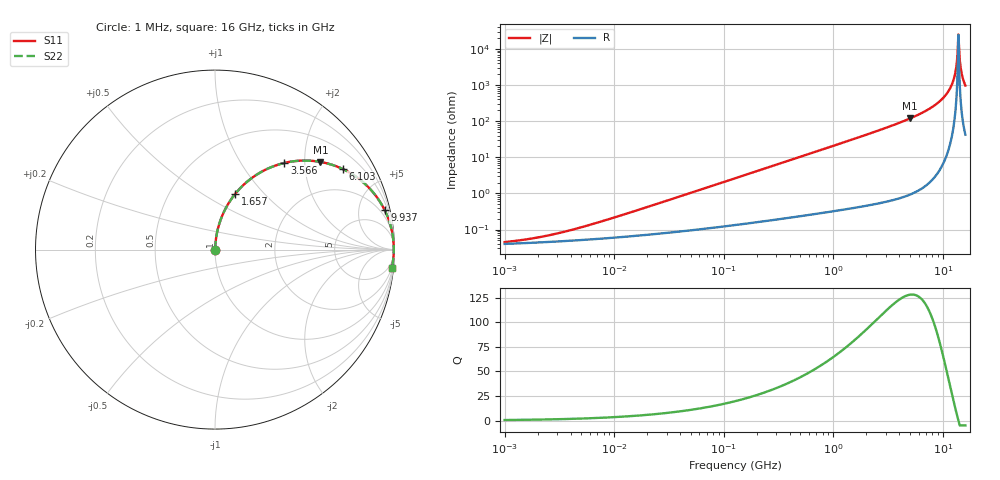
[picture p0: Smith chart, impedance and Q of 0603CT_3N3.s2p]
# MHz  S  MA  R  50
!Freq  MagS11  AngS11  MagS21  AngS21  MagS12  AngS12  MagS22  AngS22
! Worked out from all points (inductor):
!   974 points, 1 MHz to 16 GHz, reference 50 ohm
!   read as one part in series: L = 3.3 nH near 8.326 MHz
!   highest Q = 128 at 5.001 GHz (marker M1), where L = 3.8 nH
!   self-resonance near 13.8 GHz
!   S11 on the Smith chart (normalised r, x): 1 MHz: 1.00, +0.00; 1.657 GHz: 1.01, +0.70; 3.566 GHz: 1.01, +1.58; 6.103 GHz: 1.03, +3.14; 9.937 GHz: 1.13, +8.53; 16 GHz: 2, -19
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1  0.0004513 27.3  0.9996 -0.0  0.9996 -0.0  0.0004513 27.3
2.194768  0.0006361 45.6  0.9996 -0.0  0.9996 -0.0  0.0006361 45.6
5.06272  0.001169 63.8  0.9995 -0.1  0.9995 -0.1  0.001169 63.8
25.37736  0.005314 81.4  0.9992 -0.3  0.9992 -0.3  0.005314 81.4
127.2064  0.02637 85.6  0.9983 -1.5  0.9983 -1.5  0.02637 85.6
637.6342  0.131 81.3  0.9888 -7.5  0.9888 -7.5  0.131 81.3
1657.385  0.328 70.2  0.9408 -19.1  0.9408 -19.1  0.328 70.2
3196.201  0.5712 54.7  0.8158 -34.8  0.8158 -34.8  0.5712 54.7
3565.901  0.6184 51.3  0.7807 -38.2  0.7807 -38.2  0.6184 51.3
5001.45  0.7636 39.8  0.6398 -49.8  0.6398 -49.8  0.7636 39.8
6102.72  0.8407 32.3  0.5348 -57.2  0.5348 -57.2  0.8407 32.3
8063.469  0.9272 21.5  0.3657 -68.0  0.3657 -68.0  0.9272 21.5
9937.354  0.9704 13.1  0.2274 -76.0  0.2274 -76.0  0.9704 13.1
11197.66  0.9859 8.4  0.1458 -80.3  0.1458 -80.3  0.9859 8.4
12246.71  0.9929 4.8  0.08396 -82.8  0.08396 -82.8  0.9929 4.8
12871.42  0.9951 2.8  0.04949 -82.9  0.04949 -82.9  0.9951 2.8
13394.05  0.996 1.2  0.02201 -78.9  0.02201 -78.9  0.996 1.2
13799.9  0.9962 0.1  0.003954 -13.6  0.003954 -13.6  0.9962 0.1
14218.06  0.9959 -1.1  0.02021 77.6  0.02021 77.6  0.9959 -1.1
14648.88  0.9951 -2.3  0.04076 82.0  0.04076 82.0  0.9951 -2.3
15092.75  0.994 -3.5  0.06142 82.6  0.06142 82.6  0.994 -3.5
16000  0.9904 -5.8  0.1018 81.7  0.1018 81.7  0.9904 -5.8
